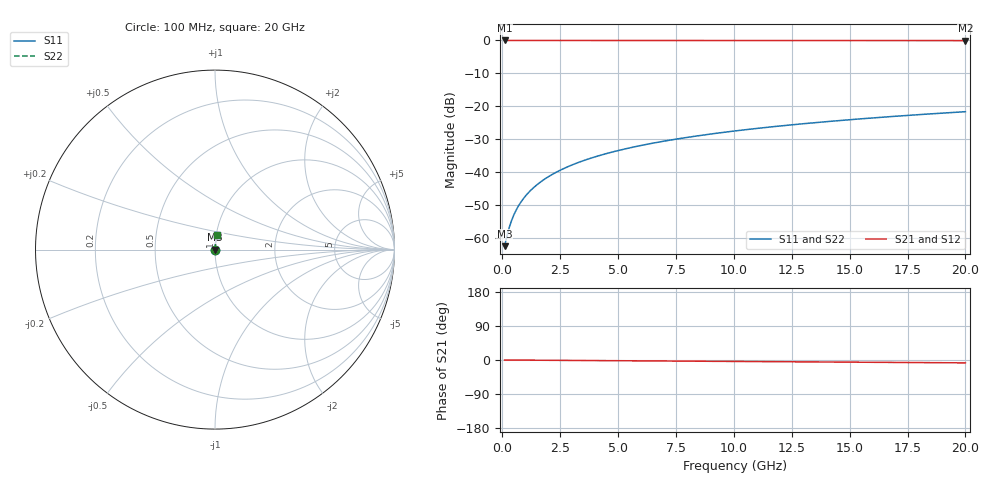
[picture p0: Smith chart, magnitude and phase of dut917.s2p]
! Touchstone file exported from HFSS 2026.1.0
!  File:  C:/ffzhzh/LocalFiles/Ansys_Project_Files/temp_train_TSV_917_1783186531_55132.aedt
!  Generated:  01:37:36 AM Jul  5, 2026
!  Design:  TSV
!  Project:  temp_train_TSV_917_1783186531_55132
! Variables:
!  h_bsmrdl = 2um
!  h_ox = 20um
!  h_rdl = 5um
!  h_sub = 52.44um
!  h_tmrdl = 5um
!  h_tsv = 52.44um
!  h_via = 3um
!  l_bsmrdl = 300um
!  l_sub = 406.4um
!  l_tmrdl = 200um
!  m_sub = 200um
!  pitch = 42.39um
!  r_tsv = 3.2um
!  s_tmrdl = 10um
!  w_bsmrdl = 18um
!  w_sub = 500um
!  w_tmrdl = 12um
!  x_tsv_center1 = 206um
!  x_tsv_center2 = 524um
!  x_tsv_center3 = 736um
!  x_tsv_center4 = 1054um
!  x_tsv_center5 = 1266um
!  x_tsv_center6 = 1584um
# GHz S MA R 50.000000
! Terminal data exported
! Port[1] = TSV1_1_T1
! Port[2] = TSV1_1_T2
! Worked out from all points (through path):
!   200 points, 100 MHz to 20 GHz, reference 50 ohm
!   highest |S21| = -0.01 dB at 100 MHz (marker M1); lowest = 0.0 dB at 20 GHz (marker M2)
!   group delay of S21, straight-line fit = 1.05 ps
!   lowest |S11| = -62.4 dB at 100 MHz (marker M3), VSWR 1.00, Z = 50.1 + j0.0443 ohm
!   |S11| at or under -10 dB: start of sweep to end of sweep
!   |S22| runs from -62.4 to -21.6 dB; largest |S21 - S12| = 3.5e-15
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0.1  0.0007628 35.4  0.9994 -0.0  0.9994 -0.0  0.0007628 35.4
! Gamma 0 0 0 0
! Port Impedance 50 0 50 0
0.2  0.001083 54.5  0.9994 -0.1  0.9994 -0.1  0.001083 54.5
0.3  0.001463 64.1  0.9994 -0.1  0.9994 -0.1  0.001463 64.1
0.4  0.001865 69.6  0.9994 -0.2  0.9994 -0.2  0.001865 69.6
0.5  0.002276 73.2  0.9993 -0.2  0.9993 -0.2  0.002276 73.2
0.6  0.002692 75.6  0.9993 -0.2  0.9993 -0.2  0.002692 75.6
0.8  0.003534 78.8  0.9993 -0.3  0.9993 -0.3  0.003534 78.8
1.1  0.004808 81.5  0.9993 -0.4  0.9993 -0.4  0.004808 81.5
1.5  0.006517 83.3  0.9993 -0.6  0.9993 -0.6  0.006517 83.3
1.8  0.007801 84.1  0.9993 -0.7  0.9993 -0.7  0.007801 84.1
2.1  0.009085 84.6  0.9992 -0.8  0.9992 -0.8  0.009085 84.6
2.7  0.01165 85.2  0.9992 -1.0  0.9992 -1.0  0.01165 85.2
3.5  0.01507 85.5  0.999 -1.3  0.999 -1.3  0.01507 85.5
4.2  0.01804 85.5  0.9989 -1.6  0.9989 -1.6  0.01804 85.5
5  0.02143 85.4  0.9988 -1.9  0.9988 -1.9  0.02143 85.4
5.9  0.02523 85.3  0.9986 -2.3  0.9986 -2.3  0.02523 85.3
6.8  0.02901 85.1  0.9984 -2.6  0.9984 -2.6  0.02901 85.1
8.3  0.03527 84.7  0.9981 -3.2  0.9981 -3.2  0.03527 84.7
10.1  0.04273 84.1  0.9976 -3.9  0.9976 -3.9  0.04273 84.1
13.4  0.05633 83.1  0.9967 -5.1  0.9967 -5.1  0.05633 83.1
16.7  0.06983 82.1  0.9956 -6.3  0.9956 -6.3  0.06983 82.1
20  0.08324 81.0  0.9944 -7.6  0.9944 -7.6  0.08324 81.0
